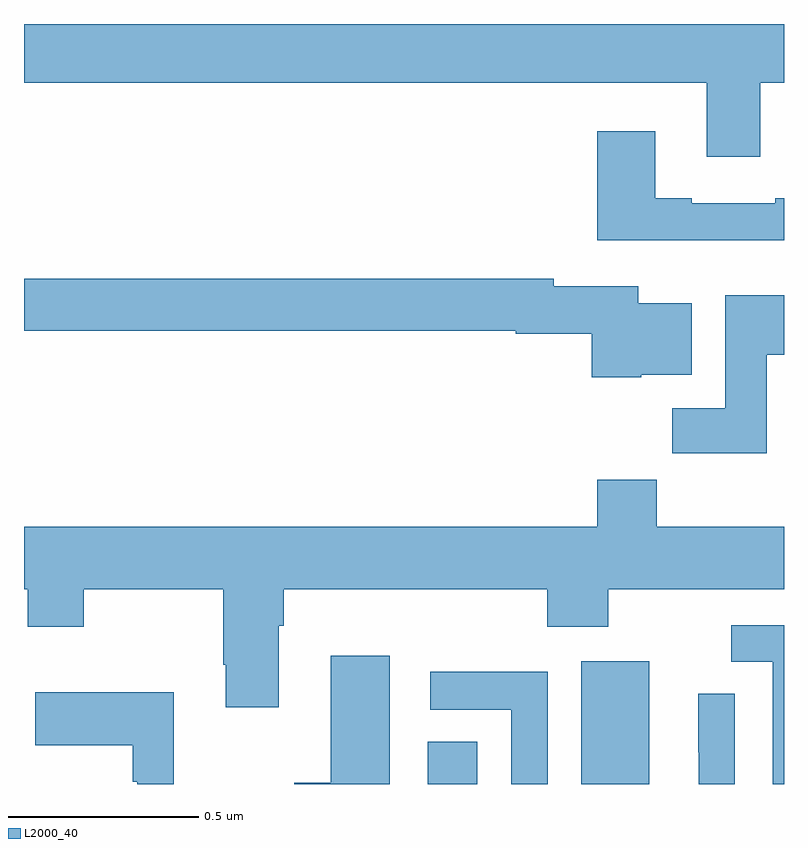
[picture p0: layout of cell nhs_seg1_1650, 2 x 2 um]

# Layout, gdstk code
import gdstk
lib = gdstk.Library(unit=1e-6, precision=1e-09)
def R(c, l, rs):  # rectangles x0, y0, x1, y1
    for r in rs: c.add(gdstk.rectangle(r[:2], r[2:], *l))
def P(c, l, *ps):  # polygons
    for p in ps: c.add(gdstk.Polygon(p, *l))
L2000_40 = (2000, 40)

nhs_seg1_1650 = lib.new_cell('nhs_seg1_1650')
R(nhs_seg1_1650, L2000_40, [(132.062,571.199,132.193,571.31), (132.467,571.199,132.646,571.522)])
P(nhs_seg1_1650, L2000_40, [(132.937,573.044),(133,573.044),(133,573.199),(131,573.199),(131,573.044),(132.797,573.044),(132.797,572.85),(132.937,572.85)],
  [(133,572.74),(132.977,572.74),(132.977,572.727),(132.757,572.727),(132.757,572.74),(132.661,572.74),(132.661,572.917),(132.509,572.917),(132.509,572.63),(133,572.63)],
  [(132.624,572.276),(132.757,572.276),(132.757,572.464),(132.616,572.464),(132.616,572.509),(132.394,572.509),(132.394,572.528),(131,572.528),(131,572.392),(132.294,572.392),(132.294,572.384),(132.494,572.384),(132.494,572.27),(132.624,572.27)],
  [(132.955,572.329),(133,572.329),(133,572.485),(132.845,572.485),(132.845,572.188),(132.706,572.188),(132.706,572.07),(132.955,572.07)],
  [(131.671,571.616),(131.684,571.616),(131.684,571.712),(132.377,571.712),(132.377,571.613),(132.537,571.613),(132.537,571.712),(133,571.712),(133,571.876),(132.665,571.876),(132.665,572),(132.509,572),(132.509,571.876),(131,571.876),(131,571.712),(131.01,571.712),(131.01,571.613),(131.157,571.613),(131.157,571.712),(131.524,571.712),(131.524,571.513),(131.531,571.513),(131.531,571.401),(131.671,571.401)],
  [(133,571.617),(132.861,571.617),(132.861,571.521),(132.971,571.521),(132.971,571.199),(133,571.199)],
  [(131.962,571.537),(131.807,571.537),(131.807,571.202),(131.711,571.202),(131.711,571.199),(131.962,571.199)],
  [(132.378,571.494),(132.069,571.494),(132.069,571.395),(132.282,571.395),(132.282,571.199),(132.378,571.199)],
  [(131.394,571.441),(131.029,571.441),(131.029,571.301),(131.286,571.301),(131.286,571.205),(131.298,571.205),(131.298,571.199),(131.394,571.199)],
  [(132.87,571.436),(132.774,571.436),(132.774,571.282),(132.776,571.282),(132.776,571.199),(132.87,571.199)])

lib.write_gds('nhs_seg1_1650.gds')
